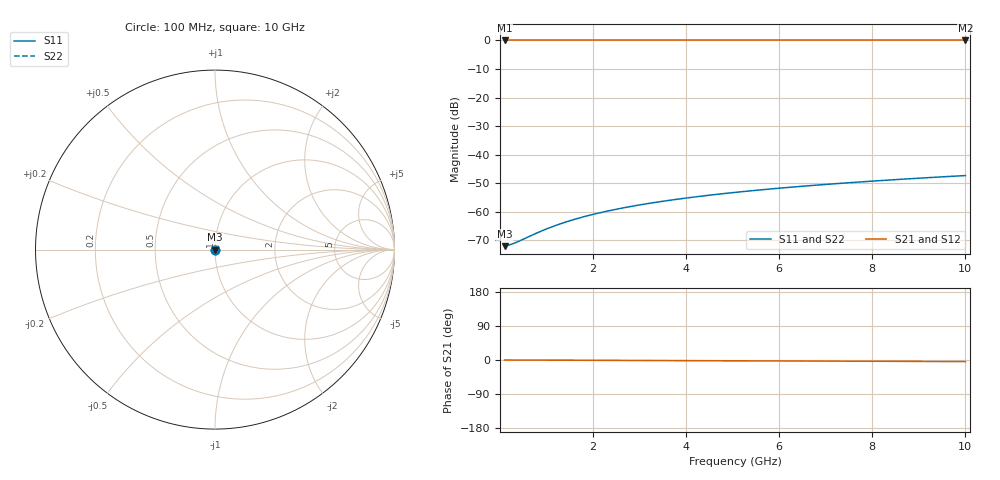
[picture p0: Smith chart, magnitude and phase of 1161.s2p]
# Hz S RI R 50.00
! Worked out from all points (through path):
!   100 points, 100 MHz to 10 GHz, reference 50 ohm
!   highest |S21| = 0.00 dB at 100 MHz (marker M1); lowest = 0.0 dB at 10 GHz (marker M2)
!   lowest |S11| = -72.1 dB at 100 MHz (marker M3), VSWR 1.00, Z = 50 + j0.0043 ohm
!   |S11| at or under -10 dB: start of sweep to end of sweep
!   |S22| runs from -72.1 to -47.3 dB; largest |S21 - S12| = 0
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1e8  0.000245 4.3e-05  0.9998 -0.000727  0.9998 -0.000727  0.000245 4.3e-05
2e8  0.000247 8.6e-05  0.9998 -0.00145  0.9998 -0.00145  0.000247 8.6e-05
3e8  0.000248 0.000129  0.9997 -0.00218  0.9997 -0.00218  0.000248 0.000129
4e8  0.000249 0.000172  0.9997 -0.00291  0.9997 -0.00291  0.000249 0.000172
8e8  0.000252 0.000344  0.9997 -0.00581  0.9997 -0.00581  0.000252 0.000344
1.1e9  0.000254 0.000472  0.9997 -0.00799  0.9997 -0.00799  0.000254 0.000472
1.4e9  0.000257 0.000601  0.9997 -0.0102  0.9997 -0.0102  0.000257 0.000601
1.6e9  0.000259 0.000686  0.9997 -0.0116  0.9997 -0.0116  0.000259 0.000686
1.8e9  0.000262 0.000772  0.9996 -0.0131  0.9996 -0.0131  0.000262 0.000772
2.1e9  0.000265 0.0009  0.9996 -0.0153  0.9996 -0.0153  0.000265 0.0009
2.5e9  0.000271 0.00107  0.9996 -0.0182  0.9996 -0.0182  0.000271 0.00107
2.9e9  0.000278 0.00124  0.9995 -0.0211  0.9995 -0.0211  0.000278 0.00124
3.4e9  0.000288 0.00145  0.9994 -0.0247  0.9994 -0.0247  0.000288 0.00145
3.8e9  0.000297 0.00162  0.9993 -0.0277  0.9993 -0.0277  0.000297 0.00162
4.2e9  0.000307 0.00179  0.9993 -0.0306  0.9993 -0.0306  0.000307 0.00179
4.6e9  0.000318 0.00196  0.9992 -0.0335  0.9992 -0.0335  0.000318 0.00196
5.1e9  0.000333 0.00217  0.999 -0.0371  0.999 -0.0371  0.000333 0.00217
5.9e9  0.00036 0.00251  0.9988 -0.043  0.9988 -0.043  0.00036 0.00251
6.7e9  0.000391 0.00285  0.9985 -0.0488  0.9985 -0.0488  0.000391 0.00285
7.5e9  0.000426 0.00319  0.9982 -0.0547  0.9982 -0.0547  0.000426 0.00319
8.4e9  0.000471 0.00357  0.9978 -0.0613  0.9978 -0.0613  0.000471 0.00357
1e10  0.000563 0.00426  0.997 -0.0731  0.997 -0.0731  0.000563 0.00426
